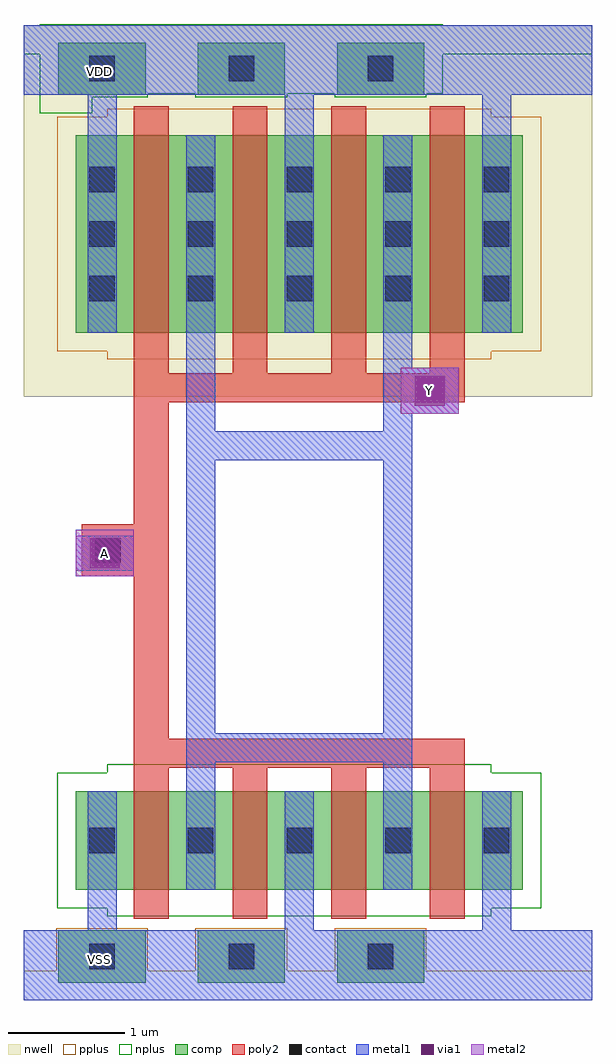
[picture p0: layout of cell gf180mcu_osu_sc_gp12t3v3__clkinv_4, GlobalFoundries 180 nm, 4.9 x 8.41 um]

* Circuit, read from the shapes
.subckt gf180mcu_osu_sc_gp12t3v3__clkinv_4 A VDD VSS Y
XM1 Y A VSS VSS nfet_03v3 w=0.85u l=0.3u m=4
XM2 Y A VDD VDD pfet_03v3 w=1.7u l=0.3u m=4
.ends

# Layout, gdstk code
import gdstk
lib = gdstk.Library(unit=1e-6, precision=1e-09)
def R(c, l, rs):  # rectangles x0, y0, x1, y1
    for r in rs: c.add(gdstk.rectangle(r[:2], r[2:], *l))
def A(c, l, x, y, w, h, nx, ny, dx, dy):  # array of equal rectangles
    R(c, l, [(x+i*dx, y+j*dy, x+i*dx+w, y+j*dy+h) for i in range(nx) for j in range(ny)])
nwell = (21, 0)
comp = (22, 0)
poly2 = (30, 0)
pplus = (31, 0)
nplus = (32, 0)
contact = (33, 0)
metal1 = (34, 0)
via1 = (35, 0)
metal2 = (36, 0)

gf180mcu_osu_sc_gp12t3v3 = lib.new_cell('gf180mcu_osu_sc_gp12t3v3__clkinv_4')
R(gf180mcu_osu_sc_gp12t3v3, nwell, [(0,5.2,4.9,8.4)])
A(gf180mcu_osu_sc_gp12t3v3, comp, 0.3, 0.15, 0.75, 0.45, 3, 2, 1.2, 7.65)
R(gf180mcu_osu_sc_gp12t3v3, comp, [(0.45,0.95,4.3,1.8), (0.45,5.75,4.3,7.45)])
A(gf180mcu_osu_sc_gp12t3v3, poly2, 0.95, 0.7, 0.3, 1.3, 4, 1, 0.85, 0)
A(gf180mcu_osu_sc_gp12t3v3, poly2, 0.95, 5.4, 0.3, 2.3, 4, 1, 0.85, 0)
R(gf180mcu_osu_sc_gp12t3v3, poly2, [(0.95,2,3.8,2.25), (0.95,2.25,1.25,3.65), (0.5,3.65,1.25,4.1), (0.95,4.1,1.25,5.15), (0.95,5.15,3.8,5.4)])
A(gf180mcu_osu_sc_gp12t3v3, pplus, 0.28, 0.13, 0.79, 0.49, 3, 1, 1.2, 0)
R(gf180mcu_osu_sc_gp12t3v3, pplus, [(0,0,4.9,0.25), (0.72,5.52,4.03,5.59), (0.29,5.59,4.46,7.61), (0.72,7.61,4.03,7.68)])
R(gf180mcu_osu_sc_gp12t3v3, nplus, [(0.72,0.72,4.03,0.79), (0.29,0.79,4.46,1.96), (0.72,1.96,4.03,2.03), (0.14,7.64,0.59,7.78), (0.14,7.78,1.07,7.81), (1.48,7.78,2.27,7.81), (2.68,7.78,3.47,7.81), (0.14,7.81,3.61,8.15), (0,8.15,4.9,8.4), (0,8.15,4.9,8.4), (0.14,8.4,3.61,8.41)])
A(gf180mcu_osu_sc_gp12t3v3, contact, 0.565, 0.265, 0.22, 0.22, 3, 2, 1.2, 7.65)
A(gf180mcu_osu_sc_gp12t3v3, contact, 0.565, 1.265, 0.22, 0.22, 5, 2, 0.85, 4.755)
A(gf180mcu_osu_sc_gp12t3v3, contact, 0.565, 6.49, 0.22, 0.22, 5, 2, 0.85, 0.47)
R(gf180mcu_osu_sc_gp12t3v3, contact, [(0.615,3.765,0.835,3.985)])
A(gf180mcu_osu_sc_gp12t3v3, metal1, 0.55, 0.6, 0.25, 1.2, 3, 1, 1.7, 0)
A(gf180mcu_osu_sc_gp12t3v3, metal1, 0.55, 5.75, 0.25, 2.05, 3, 1, 1.7, 0)
R(gf180mcu_osu_sc_gp12t3v3, metal1, [(0,0,4.9,0.6), (1.4,0.95,1.65,2.05), (3.1,0.95,3.35,2.05), (1.4,2.05,3.35,2.3), (1.4,2.3,1.65,4.65), (3.1,2.3,3.35,4.65), (0.45,3.7,0.95,4), (1.4,4.65,3.35,4.9), (1.4,4.9,1.65,7.45), (3.1,4.9,3.35,5.05), (3.1,5.05,3.75,5.45), (3.1,5.45,3.35,7.45), (0,7.8,4.9,8.4)])
R(gf180mcu_osu_sc_gp12t3v3, via1, [(0.57,3.72,0.83,3.98), (3.37,5.12,3.63,5.38)])
R(gf180mcu_osu_sc_gp12t3v3, metal2, [(0.45,3.65,0.95,4.05), (3.25,5.05,3.75,5.45)])
gf180mcu_osu_sc_gp12t3v3.add(gdstk.Label('A', (0.7,3.85), layer=36, texttype=10))
gf180mcu_osu_sc_gp12t3v3.add(gdstk.Label('Y', (3.5,5.25), layer=36, texttype=10))
gf180mcu_osu_sc_gp12t3v3.add(gdstk.Label('VDD', (0.65,8), layer=34, texttype=10))
gf180mcu_osu_sc_gp12t3v3.add(gdstk.Label('VSS', (0.65,0.35), layer=34, texttype=10))

lib.write_gds('gf180mcu_osu_sc_gp12t3v3__clkinv_4.gds')
